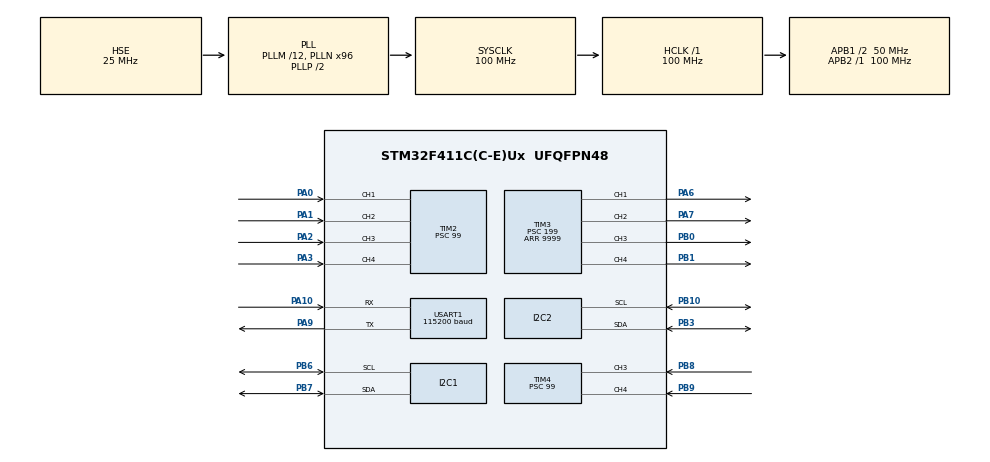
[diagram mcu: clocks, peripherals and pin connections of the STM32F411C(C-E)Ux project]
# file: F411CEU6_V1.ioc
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I2C1.I2C_Mode=I2C_Fast
I2C2.I2C_Mode=I2C_Fast
Mcu.Family=STM32F4
Mcu.Name=STM32F411C(C-E)Ux
Mcu.Package=UFQFPN48
NVIC.PriorityGroup=NVIC_PRIORITYGROUP_4
NVIC.TIM1_UP_TIM10_IRQn=true\:1\:0\:true\:false\:true\:true\:true
NVIC.TIM2_IRQn=true\:3\:0\:true\:false\:true\:true\:true
NVIC.TIM4_IRQn=true\:2\:0\:true\:false\:true\:true\:true
NVIC.USART1_IRQn=true\:4\:0\:true\:false\:true\:true\:true
PA0-WKUP.GPIO_PuPd=GPIO_PULLDOWN
PA0-WKUP.Signal=S_TIM2_CH1_ETR
PA1.GPIO_PuPd=GPIO_PULLDOWN
PA1.Signal=S_TIM2_CH2
PA10.Mode=Asynchronous
PA10.Signal=USART1_RX
PA13.Mode=Serial_Wire
PA13.Signal=SYS_JTMS-SWDIO
PA14.Mode=Serial_Wire
PA14.Signal=SYS_JTCK-SWCLK
PA2.GPIO_PuPd=GPIO_PULLDOWN
PA2.Signal=S_TIM2_CH3
PA3.GPIO_PuPd=GPIO_PULLDOWN
PA3.Signal=S_TIM2_CH4
PA6.GPIO_PuPd=GPIO_PULLDOWN
PA6.Signal=S_TIM3_CH1
PA7.GPIO_PuPd=GPIO_PULLDOWN
PA7.Signal=S_TIM3_CH2
PA9.Mode=Asynchronous
PA9.Signal=USART1_TX
PB0.GPIO_PuPd=GPIO_PULLDOWN
PB0.Signal=S_TIM3_CH3
PB1.GPIO_PuPd=GPIO_PULLDOWN
PB1.Signal=S_TIM3_CH4
PB10.Mode=I2C
PB10.Signal=I2C2_SCL
PB3.Mode=I2C
PB3.Signal=I2C2_SDA
PB6.Mode=I2C
PB6.Signal=I2C1_SCL
PB7.Mode=I2C
PB7.Signal=I2C1_SDA
PB8.GPIO_PuPd=GPIO_PULLDOWN
PB8.Signal=S_TIM4_CH3
PB9.GPIO_PuPd=GPIO_PULLDOWN
PB9.Signal=S_TIM4_CH4
PC14-OSC32_IN.Mode=LSE-External-Oscillator
PC14-OSC32_IN.Signal=RCC_OSC32_IN
PC15-OSC32_OUT.Mode=LSE-External-Oscillator
PC15-OSC32_OUT.Signal=RCC_OSC32_OUT
PH0\ -\ OSC_IN.Mode=HSE-External-Oscillator
PH0\ -\ OSC_IN.Signal=RCC_OSC_IN
PH1\ -\ OSC_OUT.Mode=HSE-External-Oscillator
PH1\ -\ OSC_OUT.Signal=RCC_OSC_OUT
ProjectManager.HeapSize=0x200
ProjectManager.StackSize=0x400
ProjectManager.TargetToolchain=MDK-ARM V5.27
RCC.48MHZClocksFreq_Value=50000000
RCC.AHBFreq_Value=100000000
RCC.APB1CLKDivider=RCC_HCLK_DIV2
RCC.APB1Freq_Value=50000000
RCC.APB1TimFreq_Value=100000000
RCC.APB2Freq_Value=100000000
RCC.APB2TimFreq_Value=100000000
RCC.CortexFreq_Value=100000000
RCC.HCLKFreq_Value=100000000
RCC.HSE_VALUE=25000000
RCC.HSI_VALUE=16000000
RCC.PLLM=12
RCC.PLLN=96
RCC.PLLSourceVirtual=RCC_PLLSOURCE_HSE
RCC.SYSCLKFreq_VALUE=100000000
RCC.SYSCLKSource=RCC_SYSCLKSOURCE_PLLCLK
RCC.VCOOutputFreq_Value=200000000
SH.S_TIM2_CH1_ETR.0=TIM2_CH1,Input_Capture1_from_TI1
SH.S_TIM2_CH2.0=TIM2_CH2,Input_Capture2_from_TI2
SH.S_TIM2_CH3.0=TIM2_CH3,Input_Capture3_from_TI3
SH.S_TIM2_CH4.0=TIM2_CH4,Input_Capture4_from_TI4
SH.S_TIM3_CH1.0=TIM3_CH1,PWM Generation1 CH1
SH.S_TIM3_CH2.0=TIM3_CH2,PWM Generation2 CH2
SH.S_TIM3_CH3.0=TIM3_CH3,PWM Generation3 CH3
SH.S_TIM3_CH4.0=TIM3_CH4,PWM Generation4 CH4
SH.S_TIM4_CH3.0=TIM4_CH3,Input_Capture3_from_TI3
SH.S_TIM4_CH4.0=TIM4_CH4,Input_Capture4_from_TI4
TIM1.Period=999
TIM1.Prescaler=99
TIM2.Channel-Input_Capture1_from_TI1=TIM_CHANNEL_1
TIM2.Channel-Input_Capture2_from_TI2=TIM_CHANNEL_2
TIM2.Channel-Input_Capture3_from_TI3=TIM_CHANNEL_3
TIM2.Channel-Input_Capture4_from_TI4=TIM_CHANNEL_4
TIM2.Prescaler=99
TIM3.Channel-PWM\ Generation1\ CH1=TIM_CHANNEL_1
TIM3.Channel-PWM\ Generation2\ CH2=TIM_CHANNEL_2
TIM3.Channel-PWM\ Generation3\ CH3=TIM_CHANNEL_3
TIM3.Channel-PWM\ Generation4\ CH4=TIM_CHANNEL_4
TIM3.Period=9999
TIM3.Prescaler=199
TIM4.Channel-Input_Capture3_from_TI3=TIM_CHANNEL_3
TIM4.Channel-Input_Capture4_from_TI4=TIM_CHANNEL_4
TIM4.Prescaler=99
USART1.BaudRate=115200
USART1.VirtualMode=VM_ASYNC
VP_TIM1_VS_ClockSourceINT.Mode=Internal
VP_TIM3_VS_ClockSourceINT.Mode=Internal
board=custom

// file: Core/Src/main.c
/* USER CODE BEGIN Header */
/**
  ******************************************************************************
  * @file           : main.c
  * @brief          : Main program body
  ******************************************************************************
  * @attention
  *
  * <h2><center>&copy; Copyright (c) 2021 STMicroelectronics.
  * All rights reserved.</center></h2>
  *
  * This software component is licensed by ST under BSD 3-Clause license,
  * the "License"; You may not use this file except in compliance with the
  * License. You may obtain a copy of the License at:
  *                        opensource.org/licenses/BSD-3-Clause
  *
  ******************************************************************************
  */
/* USER CODE END Header */
#include "main.h"
#include "i2c.h"
#include "tim.h"
#include "usart.h"
#include "gpio.h"

/* USER CODE BEGIN Includes */
#include "includes.h"
/* USER CODE END Includes */

/* USER CODE BEGIN PD */
//START 任务
//设置任务优先级
#define START_TASK_PRIO      			10 //开始任务的优先级设置为最低
//设置任务堆栈大小
#define START_STK_SIZE  				64
//创建任务堆栈空间
OS_STK START_TASK_STK[START_STK_SIZE];
//任务函数接口
void start_task(void *pdata);

//LED任务
//设置任务优先级
#define LED_TASK_PRIO       			7
//设置任务堆栈大小
#define LED_STK_SIZE  		    		64
//创建任务堆栈空间
OS_STK LED_TASK_STK[LED_STK_SIZE];
//任务函数接口
void led_task(void *pdata);
/* USER CODE END PD */

void SystemClock_Config(void);

int main(void)
{

  /* MCU Configuration--------------------------------------------------------*/

  /* Reset of all peripherals, Initializes the Flash interface and the Systick. */
  HAL_Init();

  /* Configure the system clock */
  SystemClock_Config();

  /* Initialize all configured peripherals */
  MX_GPIO_Init();
  MX_I2C1_Init();
  MX_I2C2_Init();
  MX_TIM2_Init();
  MX_TIM3_Init();
  MX_TIM4_Init();
  MX_USART1_UART_Init();
  MX_TIM1_Init();
  /* USER CODE BEGIN 2 */
	OSInit();  	 			//初始化UCOSII
	OSTaskCreate(start_task,(void *)0,(OS_STK *)&START_TASK_STK[START_STK_SIZE-1],START_TASK_PRIO );//创建起始任务
	OSStart();
  /* USER CODE END 2 */

  /* Infinite loop */
  while (1)
  {

  }
}

void SystemClock_Config(void)
{
  RCC_OscInitTypeDef RCC_OscInitStruct = {0};
  RCC_ClkInitTypeDef RCC_ClkInitStruct = {0};

  /** Configure the main internal regulator output voltage
  */
  __HAL_RCC_PWR_CLK_ENABLE();
  __HAL_PWR_VOLTAGESCALING_CONFIG(PWR_REGULATOR_VOLTAGE_SCALE1);
  /** Initializes the RCC Oscillators according to the specified parameters
  * in the RCC_OscInitTypeDef structure.
  */
  RCC_OscInitStruct.OscillatorType = RCC_OSCILLATORTYPE_HSE;
  RCC_OscInitStruct.HSEState = RCC_HSE_ON;
  RCC_OscInitStruct.PLL.PLLState = RCC_PLL_ON;
  RCC_OscInitStruct.PLL.PLLSource = RCC_PLLSOURCE_HSE;
  RCC_OscInitStruct.PLL.PLLM = 12;
  RCC_OscInitStruct.PLL.PLLN = 96;
  RCC_OscInitStruct.PLL.PLLP = RCC_PLLP_DIV2;
  RCC_OscInitStruct.PLL.PLLQ = 4;
  if (HAL_RCC_OscConfig(&RCC_OscInitStruct) != HAL_OK)
  {
    Error_Handler();
  }
  /** Initializes the CPU, AHB and APB buses clocks
  */
  RCC_ClkInitStruct.ClockType = RCC_CLOCKTYPE_HCLK|RCC_CLOCKTYPE_SYSCLK
                              |RCC_CLOCKTYPE_PCLK1|RCC_CLOCKTYPE_PCLK2;
  RCC_ClkInitStruct.SYSCLKSource = RCC_SYSCLKSOURCE_PLLCLK;
  RCC_ClkInitStruct.AHBCLKDivider = RCC_SYSCLK_DIV1;
  RCC_ClkInitStruct.APB1CLKDivider = RCC_HCLK_DIV2;
  RCC_ClkInitStruct.APB2CLKDivider = RCC_HCLK_DIV1;

  if (HAL_RCC_ClockConfig(&RCC_ClkInitStruct, FLASH_LATENCY_3) != HAL_OK)
  {
    Error_Handler();
  }
}

/* USER CODE BEGIN 4 */
//开始任务
void start_task(void *pdata)
{
    OS_CPU_SR cpu_sr=0;
	pdata = pdata;
	OSStatInit();					//初始化统计任务.这里会延时1秒钟左右
 	OS_ENTER_CRITICAL();			//进入临界区(无法被中断打断)
 	OSTaskCreate(led_task,(void *)0,(OS_STK*)&LED_TASK_STK[LED_STK_SIZE-1],LED_TASK_PRIO);
 	OSTaskSuspend(START_TASK_PRIO);	//挂起起始任务.
	OS_EXIT_CRITICAL();				//退出临界区(可以被中断打断)
}
//LED任务
void led_task(void *pdata)
{
	while(1)
	{
	    HAL_GPIO_WritePin(GPIOC, GPIO_PIN_13, GPIO_PIN_SET);
		HAL_Delay(500);
		HAL_GPIO_WritePin(GPIOC, GPIO_PIN_13, GPIO_PIN_RESET);
		HAL_Delay(500);
	}
}
/* USER CODE END 4 */

void Error_Handler(void)
{
  __disable_irq();
  while (1)
  {
  }
}

/************************ (C) COPYRIGHT STMicroelectronics *****END OF FILE****/
